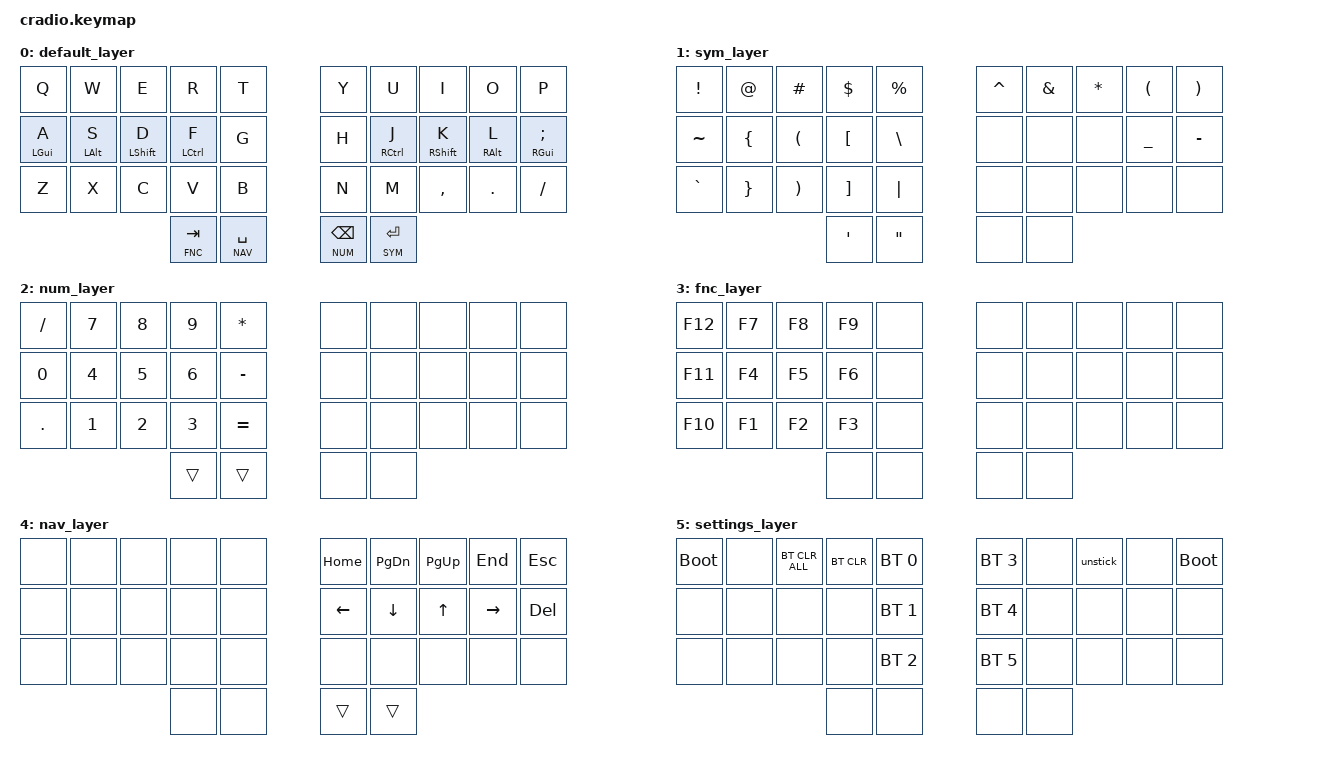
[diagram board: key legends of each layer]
/*
 * Copyright (c) 2020 The ZMK Contributors
 *
 * SPDX-License-Identifier: MIT
 */

#include <behaviors.dtsi>
#include <dt-bindings/zmk/keys.h>
#include <dt-bindings/zmk/bt.h>

// Layer definitions
    #define BASE 0
    #define SYM 1
    #define NUM 2
    #define FNC 3
    #define NAV 4
    #define SETTINGS 5
// -----------------

&mt {
    flavor = "balanced";
    tapping-term-ms = <185>;
};

&lt {
    quick-tap-ms = <155>;
};

&sk {
    ignore-modifiers;
};

/ {
    macros {
        // sometimes my device thinks a modifier is being held down
        // pressing all modifiers fixes it.
        unstick: unstick {
            label = "ZM_unstick";
            compatible = "zmk,behavior-macro";
            #binding-cells = <0>;
            bindings
                = <&kp LSHIFT &kp RSHIFT &kp LCTRL &kp RCTRL &kp LALT &kp RALT &kp LGUI &kp RGUI>;
        };
    };

    combos {
        compatible = "zmk,combos";
        // both left thumb keys
        combo_settings {
                timeout-ms = <300>;
                key-positions = <30 31>;
                bindings = <&mo SETTINGS>;
        };
        combo_esc {
            timeout-ms = <300>;
            key-positions = <12 13>;
            bindings = <&kp ESC>;
        };
        combo_backspace {
            timeout-ms = <300>;
            key-positions = <16 17>;
            bindings = <&kp BACKSPACE>;
        };
        combo_delete {
            timeout-ms = <300>;
            key-positions = <17 18>;
            bindings = <&kp DELETE>;
        };
    };

    keymap {
        compatible = "zmk,keymap";

        // Base alpha layer
            default_layer {
        bindings = <
        &kp Q &kp W &kp E &kp R &kp T                           &kp Y &kp U &kp I &kp O &kp P
        &mt LGUI A &mt LALT S &mt LSHIFT D &mt LCTRL F &kp G    &kp H &mt RCTRL J &mt RSHIFT K &mt RALT L &mt RGUI SEMI
        &kp Z &kp X &kp C &kp V &kp B                           &kp N &kp M &kp COMMA &kp DOT &kp FSLH
            &lt FNC TAB &lt NAV SPACE                           &lt NUM BACKSPACE &lt SYM ENTER
        >;
        };

        // Numbers and high frequency symbols
            sym_layer {
        bindings = <
        &kp EXCL &kp AT &kp POUND &kp DOLLAR &kp PERCENT    &kp CARET &kp AMPS &kp STAR &kp LPAR &kp RPAR
        &kp TILDE &kp LBRC &kp LPAR &kp LBKT &kp BSLH       &none &none &none &kp UNDER &kp MINUS
        &kp GRAVE &kp RBRC &kp RPAR &kp RBKT &kp PIPE       &none &none &none &none &none
                                    &kp SQT  &kp DQT        &none &none
        >;
        };

        // Main modifiers and arrow keys
            num_layer {
        bindings = <
        &kp SLASH   &kp N7 &kp N8 &kp N9 &kp STAR       &none &none &none &none &none
        &kp N0      &kp N4 &kp N5 &kp N6 &kp MINUS      &none &none &none &none &none
        &kp DOT     &kp N1 &kp N2 &kp N3 &kp EQUAL      &none &none &none &none &none
                                    &trans  &trans      &none &none
        >;
        };

        // Function keys with modifiers
            fnc_layer {
        bindings = <
        &kp F12 &kp F7 &kp F8 &kp F9 &none      &none &none &none &none &none 
        &kp F11 &kp F4 &kp F5 &kp F6 &none      &none &none &none &none &none
        &kp F10 &kp F1 &kp F2 &kp F3 &none      &none &none &none &none &none 
                            &none &none         &none &none
        >;
        };

        // Low frequency symbols.
            nav_layer {
        bindings = <
        &none &none &none &none &none       &kp HOME &kp PG_DN &kp PG_UP &kp END &kp ESC 
        &none &none &none &none &none       &kp LEFT &kp DOWN &kp UP &kp RIGHT &kp DEL
        &none &none &none &none &none       &none &none &none &none &none
                        &none &none         &trans &trans
        >;
        };

        // Used to change the keyboard's settings.
            settings_layer {
        bindings = <
        &bootloader &none &bt BT_CLR_ALL &bt BT_CLR &bt BT_SEL 0     &bt BT_SEL 3 &none &unstick &none &bootloader 
        &none &none &none &none &bt BT_SEL 1                &bt BT_SEL 4 &none &none &none &none
        &none &none &none &none &bt BT_SEL 2                &bt BT_SEL 5 &none &none &none &none
                                &none &none                 &none &none
        >;
        };
    };
};
